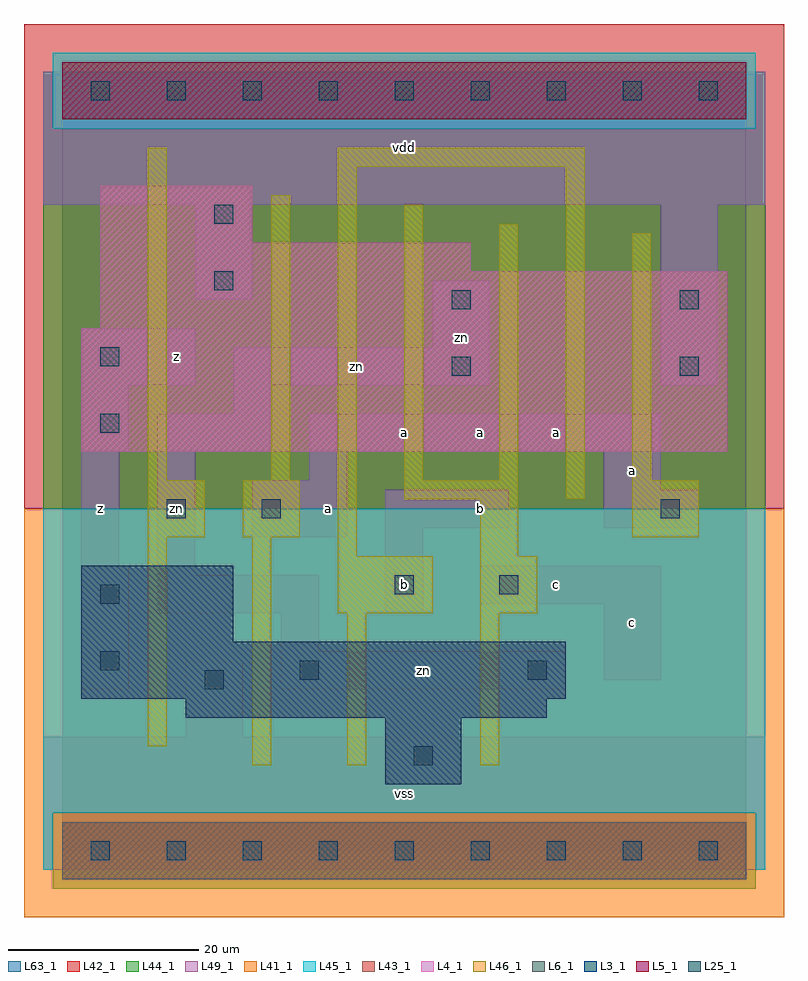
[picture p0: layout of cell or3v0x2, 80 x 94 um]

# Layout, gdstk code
import gdstk
lib = gdstk.Library(unit=1e-6, precision=1e-09)
def R(c, l, rs):  # rectangles x0, y0, x1, y1
    for r in rs: c.add(gdstk.rectangle(r[:2], r[2:], *l))
def A(c, l, x, y, w, h, nx, ny, dx, dy):  # array of equal rectangles
    R(c, l, [(x+i*dx, y+j*dy, x+i*dx+w, y+j*dy+h) for i in range(nx) for j in range(ny)])
L3_1 = (3, 1)
L4_1 = (4, 1)
L5_1 = (5, 1)
L6_1 = (6, 1)
L25_1 = (25, 1)
L41_1 = (41, 1)
L42_1 = (42, 1)
L43_1 = (43, 1)
L44_1 = (44, 1)
L45_1 = (45, 1)
L46_1 = (46, 1)
L49_1 = (49, 1)
L63_1 = (63, 1)

or3v0x2 = lib.new_cell('or3v0x2')
R(or3v0x2, L3_1, [(34,7,42,14), (13,14,51,16), (2,16,53,22), (2,22,18,30)])
R(or3v0x2, L4_1, [(2,42,70,55), (4,55,70,61), (4,61,43,64), (4,64,20,70)])
R(or3v0x2, L5_1, [(0,77,72,83)])
R(or3v0x2, L6_1, [(0,-3,72,3), (0,-3,72,3)])
A(or3v0x2, L25_1, 3, -1, 2, 2, 9, 2, 8, 80)
R(or3v0x2, L25_1, [(37,9,39,11), (15,17,17,19), (25,18,27,20), (49,18,51,20), (4,19,6,21), (4,26,6,28), (35,27,37,29), (46,27,48,29), (11,35,13,37), (21,35,23,37), (63,35,65,37), (4,44,6,46), (41,50,43,52), (65,50,67,52), (4,51,6,53), (41,57,43,59), (65,57,67,59), (16,59,18,61), (16,66,18,68)])
R(or3v0x2, L41_1, [(-4,-7,76,36)])
R(or3v0x2, L42_1, [(-4,36,76,87)])
R(or3v0x2, L43_1, [(0,-3,72,3), (34,7,42,14), (13,14,51,16), (2,16,53,22), (2,22,18,30), (2,42,70,55), (4,55,70,61), (4,61,43,64), (4,64,20,70), (0,77,72,83)])
R(or3v0x2, L44_1, [(-1,-4,73,4), (-2,36,74,76), (-2,76,-1,82), (73,76,74,82)])
R(or3v0x2, L45_1, [(-2,-2,-1,4), (73,-2,74,4), (-2,4,74,36), (-1,76,73,84)])
R(or3v0x2, L46_1, [(20,9,22,33), (30,9,32,25), (44,9,46,25), (9,11,11,33), (29,25,39,31), (44,25,50,31), (29,31,31,72), (44,31,48,37), (9,33,15,39), (19,33,25,39), (60,33,67,39), (36,37,48,39), (53,37,55,72), (9,39,11,74), (22,39,24,69), (36,39,38,68), (46,39,48,66), (60,39,62,65), (29,72,55,74)])
R(or3v0x2, L49_1, [(-2,-2,74,12), (13,12,19,20), (2,17,7,30), (23,17,53,21), (57,18,63,26), (23,21,27,25), (10,25,27,29), (34,25,38,34), (44,26,63,30), (10,29,14,42), (2,30,6,42), (20,33,30,39), (34,34,47,38), (57,34,67,38), (57,38,63,42), (26,39,30,42), (2,42,7,49), (10,42,22,46), (26,42,63,46), (18,46,22,49), (2,49,14,55), (18,49,45,53), (63,49,69,68), (39,53,45,60), (14,58,20,68), (-2,68,74,82)])
R(or3v0x2, L63_1, [(0,0,72,80)])
or3v0x2.add(gdstk.Label('zn', (12,36), layer=49, texttype=1))
or3v0x2.add(gdstk.Label('z', (4,36), layer=49, texttype=1))
or3v0x2.add(gdstk.Label('zn', (12,35), layer=49, texttype=1))
or3v0x2.add(gdstk.Label('z', (12,52), layer=49, texttype=1))
or3v0x2.add(gdstk.Label('vss', (36,6), layer=49, texttype=1))
or3v0x2.add(gdstk.Label('b', (36,28), layer=49, texttype=1))
or3v0x2.add(gdstk.Label('a', (28,36), layer=49, texttype=1))
or3v0x2.add(gdstk.Label('a', (36,44), layer=49, texttype=1))
or3v0x2.add(gdstk.Label('vdd', (36,74), layer=49, texttype=1))
or3v0x2.add(gdstk.Label('zn', (38,19), layer=49, texttype=1))
or3v0x2.add(gdstk.Label('c', (52,28), layer=49, texttype=1))
or3v0x2.add(gdstk.Label('b', (44,36), layer=49, texttype=1))
or3v0x2.add(gdstk.Label('a', (44,44), layer=49, texttype=1))
or3v0x2.add(gdstk.Label('a', (52,44), layer=49, texttype=1))
or3v0x2.add(gdstk.Label('zn', (42,54), layer=49, texttype=1))
or3v0x2.add(gdstk.Label('zn', (31,51), layer=49, texttype=1))
or3v0x2.add(gdstk.Label('c', (60,24), layer=49, texttype=1))
or3v0x2.add(gdstk.Label('a', (60,40), layer=49, texttype=1))

lib.write_gds('or3v0x2.gds')
